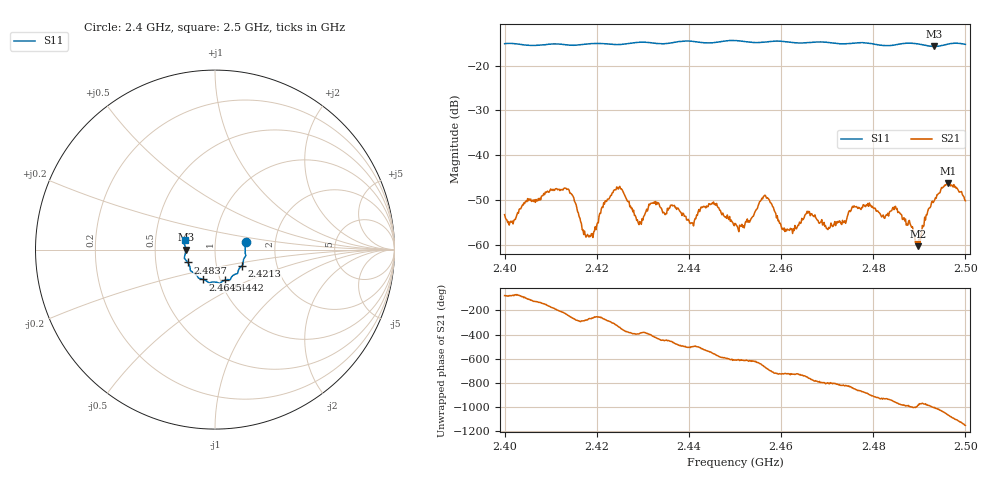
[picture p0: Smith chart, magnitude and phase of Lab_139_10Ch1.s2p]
# Hz S RI R 50
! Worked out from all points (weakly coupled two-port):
!   601 points, 2.4 GHz to 2.5 GHz, reference 50 ohm
!   highest |S21| = -46.22 dB at 2.4963 GHz (marker M1); lowest = -60.3 dB at 2.4897 GHz (marker M2)
!   lowest |S11| = -15.7 dB at 2.4932 GHz (marker M3), VSWR 1.39, Z = 35.9 - j0.0457 ohm
!   |S11| at or under -10 dB: start of sweep to end of sweep
!   S12 and S22 are empty: the file has one direction only
!   S11 on the Smith chart (normalised r, x): 2.4 GHz: 1.41, +0.12; 2.4213 GHz: 1.33, -0.25; 2.4442 GHz: 1.05, -0.37; 2.4645 GHz: 0.83, -0.29; 2.4837 GHz: 0.73, -0.11; 2.5 GHz: 0.71, +0.07
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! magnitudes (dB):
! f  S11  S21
! 2.4 GHz  -15.1  -53.2
! 2.4133 GHz  -15.4  -47.4
! 2.4167 GHz  -15.3  -55.2
! 2.4188 GHz  -15.1  -57.5
! 2.4213 GHz  -15.1  -51.6
! 2.4248 GHz  -15.3  -47.1
! 2.4292 GHz  -14.8  -55.5
! 2.4333 GHz  -15.1  -50.6
! 2.4407 GHz  -14.6  -55.0
! 2.4442 GHz  -15.0  -51.4
! 2.45 GHz  -14.4  -55.2
! 2.4567 GHz  -14.8  -49.1
! 2.4607 GHz  -14.6  -56.2
! 2.4645 GHz  -15.0  -54.1
! 2.4667 GHz  -14.8  -53.1
! 2.4702 GHz  -14.8  -56.6
! 2.4833 GHz  -15.5  -53.6
! 2.4837 GHz  -15.5  -52.5
! 2.4897 GHz  -15.2  -60.3
! 2.4932 GHz  -15.7  -50.3
! 2.4963 GHz  -15.2  -46.2
! 2.5 GHz  -15.3  -50.2
